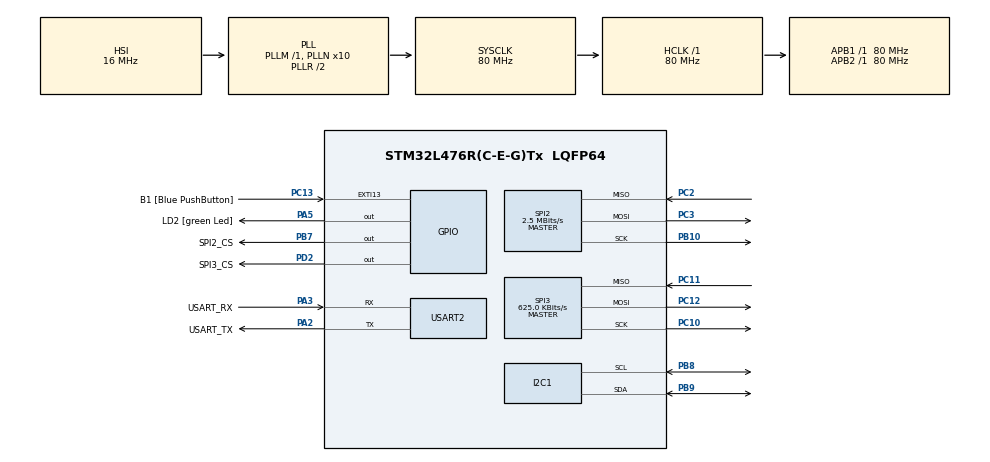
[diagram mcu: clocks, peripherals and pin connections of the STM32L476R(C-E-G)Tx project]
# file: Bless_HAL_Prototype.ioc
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FATFS._USE_LFN=1
I2C1.Timing=0x10D19CE4
Mcu.Family=STM32L4
Mcu.Name=STM32L476R(C-E-G)Tx
Mcu.Package=LQFP64
NVIC.PriorityGroup=NVIC_PRIORITYGROUP_4
NVIC.TIM2_IRQn=true\:0\:0\:false\:false\:true\:true\:true\:true
NVIC.TIM3_IRQn=true\:0\:0\:false\:false\:true\:true\:true\:true
NVIC.TIM4_IRQn=true\:0\:0\:false\:false\:true\:true\:true\:true
PA13\ (JTMS-SWDIO).GPIO_Label=TMS
PA13\ (JTMS-SWDIO).Mode=Serial_Wire
PA13\ (JTMS-SWDIO).Signal=SYS_JTMS-SWDIO
PA14\ (JTCK-SWCLK).GPIO_Label=TCK
PA14\ (JTCK-SWCLK).Mode=Serial_Wire
PA14\ (JTCK-SWCLK).Signal=SYS_JTCK-SWCLK
PA2.GPIO_Label=USART_TX
PA2.GPIO_Mode=GPIO_MODE_AF_PP
PA2.GPIO_PuPd=GPIO_NOPULL
PA2.GPIO_Speed=GPIO_SPEED_FREQ_VERY_HIGH
PA2.Mode=Asynchronous
PA2.Signal=USART2_TX
PA3.GPIO_Label=USART_RX
PA3.GPIO_Mode=GPIO_MODE_AF_PP
PA3.GPIO_PuPd=GPIO_NOPULL
PA3.GPIO_Speed=GPIO_SPEED_FREQ_VERY_HIGH
PA3.Mode=Asynchronous
PA3.Signal=USART2_RX
PA5.GPIO_Label=LD2 [green Led]
PA5.GPIO_ModeDefaultOutputPP=GPIO_MODE_OUTPUT_PP
PA5.GPIO_PuPd=GPIO_NOPULL
PA5.GPIO_Speed=GPIO_SPEED_FREQ_LOW
PA5.Signal=GPIO_Output
PB10.Mode=Full_Duplex_Master
PB10.Signal=SPI2_SCK
PB3\ (JTDO-TRACESWO).GPIO_Label=SWO
PB3\ (JTDO-TRACESWO).Signal=SYS_JTDO-SWO
PB7.GPIO_Label=SPI2_CS
PB7.PinState=GPIO_PIN_SET
PB7.Signal=GPIO_Output
PB8.Mode=I2C
PB8.Signal=I2C1_SCL
PB9.Mode=I2C
PB9.Signal=I2C1_SDA
PC10.Mode=Full_Duplex_Master
PC10.Signal=SPI3_SCK
PC11.GPIO_PuPd=GPIO_PULLUP
PC11.Mode=Full_Duplex_Master
PC11.Signal=SPI3_MISO
PC12.Mode=Full_Duplex_Master
PC12.Signal=SPI3_MOSI
PC13.GPIO_Label=B1 [Blue PushButton]
PC13.GPIO_ModeDefaultEXTI=GPIO_MODE_IT_FALLING
PC13.GPIO_PuPd=GPIO_NOPULL
PC13.Signal=GPXTI13
PC14-OSC32_IN\ (PC14).Mode=LSE-External-Oscillator
PC14-OSC32_IN\ (PC14).Signal=RCC_OSC32_IN
PC15-OSC32_OUT\ (PC15).Mode=LSE-External-Oscillator
PC15-OSC32_OUT\ (PC15).Signal=RCC_OSC32_OUT
PC2.Mode=Full_Duplex_Master
PC2.Signal=SPI2_MISO
PC3.Mode=Full_Duplex_Master
PC3.Signal=SPI2_MOSI
PD2.GPIO_Label=SPI3_CS
PD2.PinState=GPIO_PIN_SET
PD2.Signal=GPIO_Output
PH0-OSC_IN\ (PH0).Signal=RCC_OSC_IN
PH1-OSC_OUT\ (PH1).Signal=RCC_OSC_OUT
ProjectManager.HeapSize=0x200
ProjectManager.StackSize=0x400
ProjectManager.TargetToolchain=STM32CubeIDE
RCC.ADCFreq_Value=64000000
RCC.AHBFreq_Value=80000000
RCC.APB1Freq_Value=80000000
RCC.APB1TimFreq_Value=80000000
RCC.APB2Freq_Value=80000000
RCC.APB2TimFreq_Value=80000000
RCC.CortexFreq_Value=80000000
RCC.HCLKFreq_Value=80000000
RCC.HSE_VALUE=8000000
RCC.HSI_VALUE=16000000
RCC.MSI_VALUE=4000000
RCC.PLLN=10
RCC.PLLSourceVirtual=RCC_PLLSOURCE_HSI
RCC.PREFETCH_ENABLE=1
RCC.SYSCLKFreq_VALUE=80000000
RCC.SYSCLKSource=RCC_SYSCLKSOURCE_PLLCLK
RCC.USBFreq_Value=64000000
RCC.VCOOutputFreq_Value=160000000
SPI2.BaudRatePrescaler=SPI_BAUDRATEPRESCALER_32
SPI2.CLKPhase=SPI_PHASE_2EDGE
SPI2.CLKPolarity=SPI_POLARITY_HIGH
SPI2.CalculateBaudRate=2.5 MBits/s
SPI2.DataSize=SPI_DATASIZE_8BIT
SPI2.Direction=SPI_DIRECTION_2LINES
SPI2.Mode=SPI_MODE_MASTER
SPI2.VirtualType=VM_MASTER
SPI3.BaudRatePrescaler=SPI_BAUDRATEPRESCALER_128
SPI3.CalculateBaudRate=625.0 KBits/s
SPI3.DataSize=SPI_DATASIZE_8BIT
SPI3.Direction=SPI_DIRECTION_2LINES
SPI3.Mode=SPI_MODE_MASTER
SPI3.NSSPMode=SPI_NSS_PULSE_DISABLE
SPI3.VirtualType=VM_MASTER
TIM2.Period=1999999
TIM2.Prescaler=79
TIM3.Period=19999
TIM3.Prescaler=7999
TIM4.Period=49999
TIM4.Prescaler=15999
USART2.VirtualMode-Asynchronous=VM_ASYNC
VP_FATFS_VS_Generic.Mode=User_defined
VP_TIM2_VS_ClockSourceINT.Mode=Internal
VP_TIM3_VS_ClockSourceINT.Mode=Internal
VP_TIM4_VS_ClockSourceINT.Mode=Internal
board=NUCLEO-L476RG

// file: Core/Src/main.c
/* USER CODE BEGIN Header */
/**
  ******************************************************************************
  * @file           : main.c
  * @brief          : Main program body
  ******************************************************************************
  * @attention
  *
  * Copyright (c) 2026 STMicroelectronics.
  * All rights reserved.
  *
  * This software is licensed under terms that can be found in the LICENSE file
  * in the root directory of this software component.
  * If no LICENSE file comes with this software, it is provided AS-IS.
  *
  ******************************************************************************
  */
/* USER CODE END Header */
#include "main.h"
#include "fatfs.h"

/* USER CODE BEGIN Includes */
#include <stdio.h>

#include "tmp102.h"
#include "max31865.h"

#include "telemetry.h"
#include "sensors.h"
/* USER CODE END Includes */

I2C_HandleTypeDef hi2c1;

SPI_HandleTypeDef hspi2;
SPI_HandleTypeDef hspi3;

TIM_HandleTypeDef htim2;
TIM_HandleTypeDef htim3;
TIM_HandleTypeDef htim4;

UART_HandleTypeDef huart2;

/* USER CODE BEGIN PV */

// State diagram states
typedef enum{
	ST_INIT,
	ST_IDLE,
	ST_ACQUIRE,
	ST_LOG,
	ST_CHECK_TX,
	ST_TX_HALOW,
	ST_ERROR
} States_t;

// Establish the init state
States_t currentState = ST_INIT;

// Timer flags; 0 = down, 1 = up
volatile uint8_t log_timer = 0;
volatile uint8_t tx_timer = 0;
volatile uint8_t error = 0;

// UART buffer size
char uart_buff[500];

// ---------- SENSORS  CONFIG ---------------//
float internal_temp = 0.0;
float external_temp = 0.0;

//----------- Packet Config ----------------//
TelemetryPacket packet;

//----------- SD CONFIG ----------------//
FATFS fs; // Files System
FIL fil; // File
FRESULT fres; // Save errors
UINT bytesWrote; // Number of bytes written

/* USER CODE END PV */

void SystemClock_Config(void);
static void MX_GPIO_Init(void);
static void MX_TIM2_Init(void);
static void MX_TIM3_Init(void);
static void MX_TIM4_Init(void);
static void MX_USART2_UART_Init(void);
static void MX_I2C1_Init(void);
static void MX_SPI2_Init(void);
static void MX_SPI3_Init(void);

int main(void)
{

  /* USER CODE BEGIN 1 */
	HAL_UART_Transmit(&huart2, (uint8_t *)"BLESS System Initialized\r\n", 13, 10);
  /* USER CODE END 1 */

  /* MCU Configuration--------------------------------------------------------*/

  /* Reset of all peripherals, Initializes the Flash interface and the Systick. */
  HAL_Init();

  /* Configure the system clock */
  SystemClock_Config();

  /* Initialize all configured peripherals */
  MX_GPIO_Init();
  MX_TIM2_Init();
  MX_TIM3_Init();
  MX_TIM4_Init();
  MX_USART2_UART_Init();
  MX_I2C1_Init();
  MX_SPI2_Init();
  MX_SPI3_Init();
  MX_FATFS_Init();
  /* USER CODE BEGIN 2 */

  HAL_TIM_Base_Start_IT(&htim3);
  HAL_TIM_Base_Start_IT(&htim4);

  Sensors_Init();
  /* USER CODE END 2 */

  /* Infinite loop */
  while (1)
  {

    /* USER CODE BEGIN 3 */
	  switch(currentState){

	  	  case ST_INIT:
	  		  HAL_UART_Transmit(&huart2, (uint8_t *)"STATE: INIT\r\n", 13, 10);
	  		  currentState = ST_IDLE;
	  		  break;

	  	  case ST_IDLE:
	  		  //HAL_UART_Transmit(&huart2, (uint8_t *)"STATE: IDLE\r\n", 13, 10);
	  		  if(log_timer){
	  			  currentState = ST_ACQUIRE;
	  		  }
	  		  break;

	  	  case ST_ACQUIRE:
	  		  if (!readSensors(&packet)){
	  			  error = 1;
	  			  currentState = ST_ERROR;
	  		  } else{
	  			  currentState = ST_LOG;
	  		  }
	  		break;

	  	  case ST_LOG:

	  		  packet.timestamp = HAL_GetTick() / 1000;
	  		  packet.count++;

	  		  printTelemetry(&packet);

	  		  // Save on SD
	  		  fres = f_mount(&fs, "", 1);
	  		  if(fres == FR_OK){
	  			  fres = f_open(&fil, "data_hal.bin", FA_WRITE | FA_OPEN_APPEND);
	  			  if(fres == FR_OK){
	  				  f_write(&fil, &packet, sizeof(TelemetryPacket), &bytesWrote);
	  				  f_close(&fil);
	  			  }
	  			  else{
	  				packet.error_flags |= 0x12;
	  				currentState = ST_ERROR;
	  			  }
	  			  f_mount(NULL, "", 0);

	  		  }else{
	  			  packet.error_flags |= 0x11;
	  			currentState = ST_ERROR;
	  		  }

	  		  log_timer = 0;
	  		  currentState = ST_CHECK_TX;
	  		  break;

	  	  case ST_CHECK_TX:
	  		  HAL_UART_Transmit(&huart2, (uint8_t*)"STATE: CHECK_TX\r\n", 17, 10);
	  		  if(tx_timer){
	  			  currentState = ST_TX_HALOW;
	  		  }
	  		  else{
	  			  currentState = ST_IDLE;
	  		  }
	  		  break;
	  	  case ST_TX_HALOW:
	  		  HAL_UART_Transmit(&huart2, (uint8_t*)"ESTADO: TX_HALOW\r\n", 17, 10);
	  		  tx_timer = 0;

	  		  HAL_GPIO_WritePin(LD2_GPIO_Port, LD2_Pin, GPIO_PIN_SET);
	  		  __HAL_TIM_SET_COUNTER(&htim2, 0);
	  		  HAL_TIM_Base_Start_IT(&htim2);

	  		  currentState = ST_IDLE;
	  		  break;
	  	  case ST_ERROR:
	  		if(packet.error_flags != 0){
	  				printf("ERROR FLAGS : 0x%02X\r\n", packet.error_flags);

	  				if(packet.error_flags & 0x01){
	  					printf(" [Error: TMP102]\r\n");
	  				}
	  				if(packet.error_flags & 0x02){
	  					printf(" [Error: PT100]\r\n");
	  				}
	  				if(packet.error_flags & 0x04){
	  					printf(" [Error: SD Card]\r\n");
	  				}
	  			}
	  		  currentState = ST_IDLE;
	  		  error = 0;
	  		  break;

	  }
  }
  /* USER CODE END 3 */
}

void SystemClock_Config(void)
{
  RCC_OscInitTypeDef RCC_OscInitStruct = {0};
  RCC_ClkInitTypeDef RCC_ClkInitStruct = {0};

  /** Configure the main internal regulator output voltage
  */
  if (HAL_PWREx_ControlVoltageScaling(PWR_REGULATOR_VOLTAGE_SCALE1) != HAL_OK)
  {
    Error_Handler();
  }

  /** Initializes the RCC Oscillators according to the specified parameters
  * in the RCC_OscInitTypeDef structure.
  */
  RCC_OscInitStruct.OscillatorType = RCC_OSCILLATORTYPE_HSI;
  RCC_OscInitStruct.HSIState = RCC_HSI_ON;
  RCC_OscInitStruct.HSICalibrationValue = RCC_HSICALIBRATION_DEFAULT;
  RCC_OscInitStruct.PLL.PLLState = RCC_PLL_ON;
  RCC_OscInitStruct.PLL.PLLSource = RCC_PLLSOURCE_HSI;
  RCC_OscInitStruct.PLL.PLLM = 1;
  RCC_OscInitStruct.PLL.PLLN = 10;
  RCC_OscInitStruct.PLL.PLLP = RCC_PLLP_DIV7;
  RCC_OscInitStruct.PLL.PLLQ = RCC_PLLQ_DIV2;
  RCC_OscInitStruct.PLL.PLLR = RCC_PLLR_DIV2;
  if (HAL_RCC_OscConfig(&RCC_OscInitStruct) != HAL_OK)
  {
    Error_Handler();
  }

  /** Initializes the CPU, AHB and APB buses clocks
  */
  RCC_ClkInitStruct.ClockType = RCC_CLOCKTYPE_HCLK|RCC_CLOCKTYPE_SYSCLK
                              |RCC_CLOCKTYPE_PCLK1|RCC_CLOCKTYPE_PCLK2;
  RCC_ClkInitStruct.SYSCLKSource = RCC_SYSCLKSOURCE_PLLCLK;
  RCC_ClkInitStruct.AHBCLKDivider = RCC_SYSCLK_DIV1;
  RCC_ClkInitStruct.APB1CLKDivider = RCC_HCLK_DIV1;
  RCC_ClkInitStruct.APB2CLKDivider = RCC_HCLK_DIV1;

  if (HAL_RCC_ClockConfig(&RCC_ClkInitStruct, FLASH_LATENCY_4) != HAL_OK)
  {
    Error_Handler();
  }
}

static void MX_I2C1_Init(void)
{

  hi2c1.Instance = I2C1;
  hi2c1.Init.Timing = 0x10D19CE4;
  hi2c1.Init.OwnAddress1 = 0;
  hi2c1.Init.AddressingMode = I2C_ADDRESSINGMODE_7BIT;
  hi2c1.Init.DualAddressMode = I2C_DUALADDRESS_DISABLE;
  hi2c1.Init.OwnAddress2 = 0;
  hi2c1.Init.OwnAddress2Masks = I2C_OA2_NOMASK;
  hi2c1.Init.GeneralCallMode = I2C_GENERALCALL_DISABLE;
  hi2c1.Init.NoStretchMode = I2C_NOSTRETCH_DISABLE;
  if (HAL_I2C_Init(&hi2c1) != HAL_OK)
  {
    Error_Handler();
  }

  /** Configure Analogue filter
  */
  if (HAL_I2CEx_ConfigAnalogFilter(&hi2c1, I2C_ANALOGFILTER_ENABLE) != HAL_OK)
  {
    Error_Handler();
  }

  /** Configure Digital filter
  */
  if (HAL_I2CEx_ConfigDigitalFilter(&hi2c1, 0) != HAL_OK)
  {
    Error_Handler();
  }

}

static void MX_SPI2_Init(void)
{

  /* SPI2 parameter configuration*/
  hspi2.Instance = SPI2;
  hspi2.Init.Mode = SPI_MODE_MASTER;
  hspi2.Init.Direction = SPI_DIRECTION_2LINES;
  hspi2.Init.DataSize = SPI_DATASIZE_8BIT;
  hspi2.Init.CLKPolarity = SPI_POLARITY_HIGH;
  hspi2.Init.CLKPhase = SPI_PHASE_2EDGE;
  hspi2.Init.NSS = SPI_NSS_SOFT;
  hspi2.Init.BaudRatePrescaler = SPI_BAUDRATEPRESCALER_32;
  hspi2.Init.FirstBit = SPI_FIRSTBIT_MSB;
  hspi2.Init.TIMode = SPI_TIMODE_DISABLE;
  hspi2.Init.CRCCalculation = SPI_CRCCALCULATION_DISABLE;
  hspi2.Init.CRCPolynomial = 7;
  hspi2.Init.CRCLength = SPI_CRC_LENGTH_DATASIZE;
  hspi2.Init.NSSPMode = SPI_NSS_PULSE_DISABLE;
  if (HAL_SPI_Init(&hspi2) != HAL_OK)
  {
    Error_Handler();
  }

}

static void MX_SPI3_Init(void)
{

  /* SPI3 parameter configuration*/
  hspi3.Instance = SPI3;
  hspi3.Init.Mode = SPI_MODE_MASTER;
  hspi3.Init.Direction = SPI_DIRECTION_2LINES;
  hspi3.Init.DataSize = SPI_DATASIZE_8BIT;
  hspi3.Init.CLKPolarity = SPI_POLARITY_LOW;
  hspi3.Init.CLKPhase = SPI_PHASE_1EDGE;
  hspi3.Init.NSS = SPI_NSS_SOFT;
  hspi3.Init.BaudRatePrescaler = SPI_BAUDRATEPRESCALER_128;
  hspi3.Init.FirstBit = SPI_FIRSTBIT_MSB;
  hspi3.Init.TIMode = SPI_TIMODE_DISABLE;
  hspi3.Init.CRCCalculation = SPI_CRCCALCULATION_DISABLE;
  hspi3.Init.CRCPolynomial = 7;
  hspi3.Init.CRCLength = SPI_CRC_LENGTH_DATASIZE;
  hspi3.Init.NSSPMode = SPI_NSS_PULSE_DISABLE;
  if (HAL_SPI_Init(&hspi3) != HAL_OK)
  {
    Error_Handler();
  }

}

static void MX_TIM2_Init(void)
{

  TIM_ClockConfigTypeDef sClockSourceConfig = {0};
  TIM_MasterConfigTypeDef sMasterConfig = {0};

  htim2.Instance = TIM2;
  htim2.Init.Prescaler = 79;
  htim2.Init.CounterMode = TIM_COUNTERMODE_UP;
  htim2.Init.Period = 1999999;
  htim2.Init.ClockDivision = TIM_CLOCKDIVISION_DIV1;
  htim2.Init.AutoReloadPreload = TIM_AUTORELOAD_PRELOAD_DISABLE;
  if (HAL_TIM_Base_Init(&htim2) != HAL_OK)
  {
    Error_Handler();
  }
  sClockSourceConfig.ClockSource = TIM_CLOCKSOURCE_INTERNAL;
  if (HAL_TIM_ConfigClockSource(&htim2, &sClockSourceConfig) != HAL_OK)
  {
    Error_Handler();
  }
  sMasterConfig.MasterOutputTrigger = TIM_TRGO_RESET;
  sMasterConfig.MasterSlaveMode = TIM_MASTERSLAVEMODE_DISABLE;
  if (HAL_TIMEx_MasterConfigSynchronization(&htim2, &sMasterConfig) != HAL_OK)
  {
    Error_Handler();
  }

}

static void MX_TIM3_Init(void)
{

  TIM_ClockConfigTypeDef sClockSourceConfig = {0};
  TIM_MasterConfigTypeDef sMasterConfig = {0};

  htim3.Instance = TIM3;
  htim3.Init.Prescaler = 7999;
  htim3.Init.CounterMode = TIM_COUNTERMODE_UP;
  htim3.Init.Period = 19999;
  htim3.Init.ClockDivision = TIM_CLOCKDIVISION_DIV1;
  htim3.Init.AutoReloadPreload = TIM_AUTORELOAD_PRELOAD_DISABLE;
  if (HAL_TIM_Base_Init(&htim3) != HAL_OK)
  {
    Error_Handler();
  }
  sClockSourceConfig.ClockSource = TIM_CLOCKSOURCE_INTERNAL;
  if (HAL_TIM_ConfigClockSource(&htim3, &sClockSourceConfig) != HAL_OK)
  {
    Error_Handler();
  }
  sMasterConfig.MasterOutputTrigger = TIM_TRGO_RESET;
  sMasterConfig.MasterSlaveMode = TIM_MASTERSLAVEMODE_DISABLE;
  if (HAL_TIMEx_MasterConfigSynchronization(&htim3, &sMasterConfig) != HAL_OK)
  {
    Error_Handler();
  }

}

static void MX_TIM4_Init(void)
{

  TIM_ClockConfigTypeDef sClockSourceConfig = {0};
  TIM_MasterConfigTypeDef sMasterConfig = {0};

  htim4.Instance = TIM4;
  htim4.Init.Prescaler = 15999;
  htim4.Init.CounterMode = TIM_COUNTERMODE_UP;
  htim4.Init.Period = 49999;
  htim4.Init.ClockDivision = TIM_CLOCKDIVISION_DIV1;
  htim4.Init.AutoReloadPreload = TIM_AUTORELOAD_PRELOAD_DISABLE;
  if (HAL_TIM_Base_Init(&htim4) != HAL_OK)
  {
    Error_Handler();
  }
  sClockSourceConfig.ClockSource = TIM_CLOCKSOURCE_INTERNAL;
  if (HAL_TIM_ConfigClockSource(&htim4, &sClockSourceConfig) != HAL_OK)
  {
    Error_Handler();
  }
  sMasterConfig.MasterOutputTrigger = TIM_TRGO_RESET;
  sMasterConfig.MasterSlaveMode = TIM_MASTERSLAVEMODE_DISABLE;
  if (HAL_TIMEx_MasterConfigSynchronization(&htim4, &sMasterConfig) != HAL_OK)
  {
    Error_Handler();
  }

}

static void MX_USART2_UART_Init(void)
{

  huart2.Instance = USART2;
  huart2.Init.BaudRate = 115200;
  huart2.Init.WordLength = UART_WORDLENGTH_8B;
  huart2.Init.StopBits = UART_STOPBITS_1;
  huart2.Init.Parity = UART_PARITY_NONE;
  huart2.Init.Mode = UART_MODE_TX_RX;
  huart2.Init.HwFlowCtl = UART_HWCONTROL_NONE;
  huart2.Init.OverSampling = UART_OVERSAMPLING_16;
  huart2.Init.OneBitSampling = UART_ONE_BIT_SAMPLE_DISABLE;
  huart2.AdvancedInit.AdvFeatureInit = UART_ADVFEATURE_NO_INIT;
  if (HAL_UART_Init(&huart2) != HAL_OK)
  {
    Error_Handler();
  }

}

static void MX_GPIO_Init(void)
{
  GPIO_InitTypeDef GPIO_InitStruct = {0};

  /* GPIO Ports Clock Enable */
  __HAL_RCC_GPIOC_CLK_ENABLE();
  __HAL_RCC_GPIOH_CLK_ENABLE();
  __HAL_RCC_GPIOA_CLK_ENABLE();
  __HAL_RCC_GPIOB_CLK_ENABLE();
  __HAL_RCC_GPIOD_CLK_ENABLE();

  /*Configure GPIO pin Output Level */
  HAL_GPIO_WritePin(LD2_GPIO_Port, LD2_Pin, GPIO_PIN_RESET);

  /*Configure GPIO pin Output Level */
  HAL_GPIO_WritePin(SPI3_CS_GPIO_Port, SPI3_CS_Pin, GPIO_PIN_SET);

  /*Configure GPIO pin Output Level */
  HAL_GPIO_WritePin(SPI2_CS_GPIO_Port, SPI2_CS_Pin, GPIO_PIN_SET);

  /*Configure GPIO pin : B1_Pin */
  GPIO_InitStruct.Pin = B1_Pin;
  GPIO_InitStruct.Mode = GPIO_MODE_IT_FALLING;
  GPIO_InitStruct.Pull = GPIO_NOPULL;
  HAL_GPIO_Init(B1_GPIO_Port, &GPIO_InitStruct);

  /*Configure GPIO pin : LD2_Pin */
  GPIO_InitStruct.Pin = LD2_Pin;
  GPIO_InitStruct.Mode = GPIO_MODE_OUTPUT_PP;
  GPIO_InitStruct.Pull = GPIO_NOPULL;
  GPIO_InitStruct.Speed = GPIO_SPEED_FREQ_LOW;
  HAL_GPIO_Init(LD2_GPIO_Port, &GPIO_InitStruct);

  /*Configure GPIO pin : SPI3_CS_Pin */
  GPIO_InitStruct.Pin = SPI3_CS_Pin;
  GPIO_InitStruct.Mode = GPIO_MODE_OUTPUT_PP;
  GPIO_InitStruct.Pull = GPIO_NOPULL;
  GPIO_InitStruct.Speed = GPIO_SPEED_FREQ_LOW;
  HAL_GPIO_Init(SPI3_CS_GPIO_Port, &GPIO_InitStruct);

  /*Configure GPIO pin : SPI2_CS_Pin */
  GPIO_InitStruct.Pin = SPI2_CS_Pin;
  GPIO_InitStruct.Mode = GPIO_MODE_OUTPUT_PP;
  GPIO_InitStruct.Pull = GPIO_NOPULL;
  GPIO_InitStruct.Speed = GPIO_SPEED_FREQ_LOW;
  HAL_GPIO_Init(SPI2_CS_GPIO_Port, &GPIO_InitStruct);

}

/* USER CODE BEGIN 4 */
// Hardware interruptions
void HAL_TIM_PeriodElapsedCallback(TIM_HandleTypeDef *htim){
	// Check which timer has make the interruption

	if(htim->Instance == TIM2){
		HAL_GPIO_WritePin(LD2_GPIO_Port, LD2_Pin, GPIO_PIN_RESET);
		HAL_TIM_Base_Stop_IT(&htim2);
	}

	if(htim->Instance == TIM3){
		log_timer = 1;
	}

	if(htim->Instance == TIM4){
		tx_timer = 1;
	}
}

/* USER CODE END 4 */

void Error_Handler(void)
{
  __disable_irq();
  while (1)
  {
  }
}
